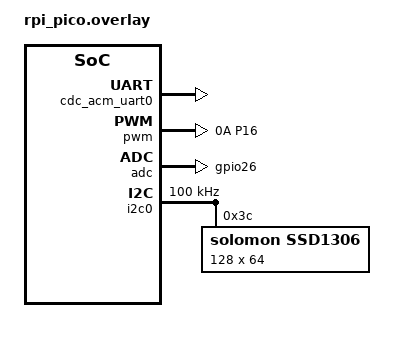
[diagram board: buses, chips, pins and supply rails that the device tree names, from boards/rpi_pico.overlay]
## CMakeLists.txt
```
# SPDX-License-Identifier: Apache-2.0

cmake_minimum_required(VERSION 3.20.0)
find_package(Zephyr REQUIRED HINTS $ENV{ZEPHYR_BASE})
project(blinky)

target_sources(app PRIVATE
    src/main.c
    src/modules/ringbuf/ringbuf.c
    src/modules/protocol/protocol.c
    src/modules/drivers/led_pwm.c
    src/modules/drivers/adc_ctrl.c
    src/modules/tx_buffer/tx_buffer.c
    src/modules/threads/tx_thread.c
    src/modules/threads/rx_thread.c
    src/modules/adc_stream/adc_stream.c
    src/modules/p_controller/p_controller.c
    src/modules/adc_reader/adc_reader.c
)
```

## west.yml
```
# Zephyr RTOS manifest with minimal module allowlist for RP2040 (Raspberry Pi Pico)
# This only downloads modules needed for the rpi_pico board, saving time and disk space.

manifest:
  defaults:
    remote: upstream

  remotes:
    - name: upstream
      url-base: https://github.com/zephyrproject-rtos

  projects:
    - name: zephyr
      revision: v3.7.0
      url: https://github.com/zephyrproject-rtos/zephyr
      west-commands: scripts/west-commands.yml
      import:
        # Only import the modules we actually need for RP2040
        name-allowlist:
          # ARM Cortex-M core support (REQUIRED)
          - cmsis
          # RP2040/Raspberry Pi Pico HAL (REQUIRED)
          - hal_rpi_pico
          # C library (usually required)
          - picolibc
          # Add more modules below if build fails:
          # - fatfs        # File system (if needed)
          # - littlefs     # Alternative file system (if needed)
          # - mbedtls      # Crypto/TLS (if using crypto)
          # - lvgl         # Graphics (if using GUI)
          # - cmsis-dsp    # DSP algorithms (if using DSP)

  self:
    path: .
```

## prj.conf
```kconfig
# --- USB CDC ACM ---
CONFIG_USB_DEVICE_STACK=y
CONFIG_USB_DEVICE_PRODUCT="RP2040 LED Ctrl"
CONFIG_USB_DEVICE_VID=0x2E8A
CONFIG_USB_DEVICE_PID=0x0001
CONFIG_USB_DEVICE_INITIALIZE_AT_BOOT=y
CONFIG_SERIAL=y
CONFIG_UART_LINE_CTRL=y
CONFIG_USB_CDC_ACM=y

# --- Console/Logging ---
# Disable console on UART to prevent log messages in binary protocol
CONFIG_UART_CONSOLE=n

# --- GPIO (for built-in LED) ---
CONFIG_GPIO=y

# --- PWM (for LED brightness control) ---
CONFIG_PWM=y

# --- ADC (for analog input reading) ---
CONFIG_ADC=y

# --- I2C (for SSD1306 display) ---
CONFIG_I2C=y

# --- Display Support ---
CONFIG_DISPLAY=y
CONFIG_SSD1306=y
CONFIG_CHARACTER_FRAMEBUFFER=y

# --- Heap for display framebuffer ---
CONFIG_HEAP_MEM_POOL_SIZE=16384
```

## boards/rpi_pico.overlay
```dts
#include <zephyr/dt-bindings/pinctrl/rpi-pico-rp2040-pinctrl.h>

/* Console via USB CDC ACM */
/ {
	chosen {
		zephyr,console = &cdc_acm_uart0;
		zephyr,display = &ssd1306;
	};

	/* ADC node for analog input on GPIO26 (ADC0) */
	adc_io: adc_io {
		compatible = "gpio-keys";
		label = "ADC_IO";
	};
};

&zephyr_udc0 {
	cdc_acm_uart0: cdc_acm_uart0 {
		compatible = "zephyr,cdc-acm-uart";
		label = "CDC_ACM_0";
	};
};

/* Enable PWM with pinctrl for GPIO16 (external) and GPIO25 (built-in LED) */
&pwm {
	pinctrl-0 = <&pwm0a_default>, <&pwm_ch4b_default>;
	pinctrl-names = "default";
	status = "okay";
};

/* Enable ADC for reading analog values on GPIO26 (ADC0) */
&adc {
	status = "okay";
	#io-channel-cells = <1>;
	pinctrl-0 = <&adc_default>;
	pinctrl-names = "default";
};

/* Enable I2C0 for SSD1306 display */
&i2c0 {
	status = "okay";
	pinctrl-0 = <&i2c0_default>;
	pinctrl-names = "default";
	clock-frequency = <I2C_BITRATE_STANDARD>;

	ssd1306: ssd1306@3c {
		compatible = "solomon,ssd1306";
		reg = <0x3c>;
		width = <128>;
		height = <64>;
		segment-offset = <0>;
		page-offset = <0>;
		display-offset = <0>;
		multiplex-ratio = <63>;
		segment-remap;
		com-invdir;
		prechargep = <0x22>;
	};
};

/* Add pinctrl configuration */
&pinctrl {
	/* PWM0 Channel A on GPIO16 (external PWM output) */
	pwm0a_default: pwm0a_default {
		group1 {
			pinmux = <PWM_0A_P16>;
		};
	};

	/* ADC on GPIO26 (ADC channel 0) */
	adc_default: adc_default {
		pins = "gpio26";
		function = "adc0";
	};

	/* I2C0 on GPIO4/GPIO5 for SSD1306 display */
	i2c0_default: i2c0_default {
		group1 {
			pinmux = <I2C0_SDA_P4>, <I2C0_SCL_P5>;
		};
	};
};
```

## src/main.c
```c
/**
 * @file main.c
 * @brief RP2040 PWM LED Control with P-Controller via UART ACM Binary Protocol
 *
 * @details This firmware implements a PWM-based LED control system for RP2040
 *          with PI-controller for automatic current regulation.
 *
 * **Hardware Platform:**
 *   - MCU: RP2040 (Raspberry Pi Pico)
 *   - LED: GPIO25 (built-in LED, PWM capable)
 *   - ADC Input: GPIO26 (ADC channel 0) - for analog sensor reading
 *   - Communication: USB CDC ACM (virtual serial port)
 *
 * **Binary Protocol Specification:**
 *   - Frame Format: [CMD][VALUE][CRC8] (3 bytes) or [CMD][H][L][CRC8] (4 bytes)
 *   - CMD 0x01: SET LED (0=OFF, 1+=ON) - Legacy ON/OFF
 *   - CMD 0x02: SET PWM DUTY (0-100, 0%=OFF, 100%=full brightness)
 *   - CMD 0x03: READ ADC - Request ADC reading, response: [0x03][ADC_H][ADC_L][CRC8]
 *   - CMD 0x06: SET MODE (0=MANUAL, 1=AUTO)
 *   - CMD 0x07: SET P SETPOINT (H/L bytes, 0-4095)
 *   - CMD 0x08: SET P GAIN (H/L bytes, 0-1000, represents 0.0-10.0)
 *   - CMD 0x09: START P STREAM (rate H/L in Hz)
 *   - CMD 0x0A: STOP P STREAM
 *   - CMD 0x0C: SET FEED FORWARD (0-100)
 *   - Response: ACK 0xFF or NACK 0xFE + error code
 *   - CRC-8: Polynomial 0x07, Initial 0x00
 *
 * **P-Controller Operation:**
 *   - Mode 0 (MANUAL): PWM controlled by GUI via SET_PWM (0x02)
 *   - Mode 1 (AUTO): PI-controller calculates PWM automatically
 *   - Formula: PWM = feed_forward + (Kp * (setpoint - measured)) / 100
 *   - Control loop runs at 1kHz (1ms interval)
 *
 * @author Project Team
 * @version 0.4.0
 * @date 2026-02-01
 */

#include <zephyr/kernel.h>
#include <zephyr/device.h>
#include <zephyr/drivers/uart.h>
#include <zephyr/drivers/gpio.h>
#include <zephyr/drivers/pwm.h>
#include <zephyr/drivers/adc.h>
#include <zephyr/usb/usb_device.h>
#include <zephyr/sys/printk.h>
#include <zephyr/sys/atomic.h>
#include <zephyr/spinlock.h>
#include <zephyr/sys/__assert.h>
#include "modules/ringbuf/ringbuf.h"
#include "modules/protocol/protocol.h"
#include "modules/drivers/led_pwm.h"
#include "modules/drivers/adc_ctrl.h"
#include "modules/adc_reader/adc_reader.h"
#include "modules/tx_buffer/tx_buffer.h"
#include "modules/threads/tx_thread.h"
#include "modules/threads/rx_thread.h"
#include "modules/adc_stream/adc_stream.h"
#include "modules/p_controller/p_controller.h"
#include "modules/oled_display/oled_display.h"

/* =========================================================================
 * CONSTANTS AND DEFINITIONS
 * ========================================================================= */

/** @brief UART device node from device tree */
#define UART_NODE DT_NODELABEL(cdc_acm_uart0)

/** @brief LED device node from device tree */
#define LED_NODE DT_NODELABEL(led0)

/** @brief PWM device (all channels) */
#define PWM_DEV_NODE DT_NODELABEL(pwm)

/** @brief ADC device node from device tree */
#define ADC_NODE DT_NODELABEL(adc)

/* -------------------------------------------------------------------------
 * Buffer Sizes
 * ------------------------------------------------------------------------- */
/** @brief UART RX ring buffer size in bytes */
#define RX_BUF_SIZE  32

/** @brief UART TX ring buffer size in bytes */
#define TX_BUF_SIZE  32

/* =========================================================================
 * GLOBAL VARIABLES
 * ========================================================================= */

/** @brief Cached UART device pointer */
static const struct device *uart_dev;

/** @brief Cached PWM device pointer */
static const struct device *pwm_dev;

/** @brief LED GPIO DT spec (for led_pwm module) */
static const struct gpio_dt_spec led_dt_spec = GPIO_DT_SPEC_GET(LED_NODE, gpios);

/** @brief LED/PWM driver context */
static struct led_pwm_ctx g_led_pwm;

/** @brief ADC driver context */
static struct adc_ctrl_ctx g_adc;

/** @brief ADC reader context (shared ADC source) */
static struct adc_reader_ctx g_adc_reader;

/** @brief PI-controller context */
static struct p_ctrl_ctx g_p_ctrl;

/** @brief OLED display context */
static struct oled_display_ctx g_oled_display;

/* =========================================================================
 * FUNCTION PROTOTYPES
 * ========================================================================= */

/** @brief UART RX ring buffer data */
static uint8_t rx_buf_data[RX_BUF_SIZE];

/** @brief RX ring buffer instance */
static struct ringbuf g_rx_buf;

/** @brief UART TX ring buffer data */
static uint8_t tx_buf_data[TX_BUF_SIZE];

/** @brief TX ring buffer instance */
static struct tx_buffer g_tx_buf;

/** @brief TX thread context */
static struct tx_thread_ctx g_tx_thread;

/** @brief RX thread context */
static struct rx_thread_ctx g_rx_thread;

/** @brief ADC stream context */
static struct adc_stream_ctx g_adc_stream;

/** @brief Protocol context with state machine and callbacks */
static struct proto_ctx g_proto;

/* =========================================================================
 * FUNCTION PROTOTYPES
 * ========================================================================= */

/**
 * @brief Send response byte via UART (callback for protocol module)
 *
 * @param resp Response byte (PROTO_RESP_ACK or PROTO_RESP_NACK)
 */
static void send_response_cb(uint8_t resp)
{
	tx_buffer_put(&g_tx_buf, &resp, 1);
}

/**
 * @brief Send ADC response frame (callback for protocol module)
 *
 * @details Sends 4-byte response: [CMD][ADC_H][ADC_L][CRC8]
 *
 * @param cmd Command byte (PROTO_CMD_READ_ADC)
 * @param adc_h ADC high byte
 * @param adc_l ADC low byte
 * @param crc CRC byte
 */
static void send_adc_response_cb(uint8_t cmd, uint8_t adc_h, uint8_t adc_l, uint8_t crc)
{
	uint8_t response[4];

	response[0] = cmd;
	response[1] = adc_h;
	response[2] = adc_l;
	response[3] = crc;

	tx_buffer_put(&g_tx_buf, response, sizeof(response));
}

/**
 * @brief LED set callback for protocol module
 *
 * @param state LED state (0=OFF, 1+=ON)
 */
static void led_set_cb(uint8_t state)
{
	led_pwm_set_led(&g_led_pwm, state);
}

/**
 * @brief PWM duty set callback for protocol module
 *
 * @param duty Duty cycle (0-100)
 * @return 0 on success, -1 on invalid value
 */
static int pwm_set_cb(uint8_t duty)
{
	return led_pwm_set_duty(&g_led_pwm, duty);
}

/**
 * @brief ADC read callback for protocol module
 *
 * @return ADC value (0-4095), or negative on error
 */
static int adc_read_cb(void)
{
	/* Return the latest value from shared ADC reader */
	return (int)adc_reader_get_last(&g_adc_reader);
}

/**
 * @brief Start ADC streaming callback for protocol module
 *
 * @param interval_ms Sampling interval in milliseconds
 * @return 0 on success, negative on failure
 */
static int stream_start_cb(uint32_t interval_ms)
{
	return adc_stream_start(&g_adc_stream, interval_ms);
}

/**
 * @brief Stop ADC streaming callback for protocol module
 *
 * @return 0 on success, negative on failure
 */
static int stream_stop_cb(void)
{
	return adc_stream_stop(&g_adc_stream);
}

/* =========================================================================
 * P-CONTROLLER WRAPPER FUNCTIONS
 * ========================================================================= */

/**
 * @brief Wrapper for PWM set (matches PI-controller callback signature)
 *
 * @param duty PWM duty cycle (0-100)
 */
static void led_pwm_set_duty_wrapper(uint8_t duty)
{
	led_pwm_set_duty(&g_led_pwm, duty);
}

/**
 * @brief Wrapper for sending P-stream data via protocol
 *
 * @param setpoint Target ADC value
 * @param measured Measured ADC value
 * @param pwm PWM output
 */
static void proto_send_p_stream_data(uint16_t setpoint, uint16_t measured, uint8_t pwm)
{
	uint8_t frame[7];
	proto_build_p_stream_frame(frame, setpoint, measured, pwm);
	tx_buffer_put(&g_tx_buf, frame, sizeof(frame));
}

/**
 * @brief Set PI-controller mode callback
 *
 * @param mode 0=MANUAL, 1=AUTO
 */
static void p_ctrl_set_mode_cb(uint8_t mode)
{
	p_ctrl_set_mode(&g_p_ctrl, mode);
}

/**
 * @brief Set PI-controller setpoint callback
 *
 * @param setpoint Target ADC value (0-4095)
 */
static void p_ctrl_set_setpoint_cb(uint16_t setpoint)
{
	p_ctrl_set_setpoint(&g_p_ctrl, setpoint);
}

/**
 * @brief Set PI-controller gain callback
 *
 * @param gain Proportional gain value (0-1000, represents 0.0-10.0)
 */
static void p_ctrl_set_gain_cb(uint16_t gain)
{
	p_ctrl_set_gain(&g_p_ctrl, gain);
}

/**
 * @brief Set PI-controller Ki (integral gain) callback
 *
 * @param ki Integral gain value (0-1000, represents 0.0-10.0)
 */
static void p_ctrl_set_ki_cb(uint16_t ki)
{
	p_ctrl_set_ki(&g_p_ctrl, ki);
}

/**
 * @brief Set PI-controller feed-forward callback
 *
 * @param ff Feed-forward PWM (0-100)
 */
static void p_ctrl_set_feed_forward_cb(uint8_t ff)
{
	p_ctrl_set_feed_forward(&g_p_ctrl, ff);
}

/**
 * @brief Start PI-controller streaming callback
 *
 * @param rate_hz Streaming rate in Hz (max 1000)
 * @return 0 on success, negative on failure
 */
static int p_ctrl_start_stream_cb(uint32_t rate_hz)
{
	return p_ctrl_start_stream(&g_p_ctrl, rate_hz);
}

/**
 * @brief Stop PI-controller streaming callback
 *
 * @return 0 on success, negative on failure
 */
static int p_ctrl_stop_stream_cb(void)
{
	return p_ctrl_stop_stream(&g_p_ctrl);
}

/**
 * @brief Get PI-controller status callback
 *
 * @return 0 on success (sends response via proto_send_p_stream_data)
 */
static int p_ctrl_get_status_cb(void)
{
	uint8_t frame[7];
	uint16_t setpoint = (uint16_t)atomic_get(&g_p_ctrl.setpoint);
	uint16_t measured = g_p_ctrl.last_measured;
	uint8_t pwm = g_p_ctrl.last_pwm;
	proto_build_p_stream_frame(frame, setpoint, measured, pwm);
	tx_buffer_put(&g_tx_buf, frame, sizeof(frame));
	return 0;
}

/**
 * @brief Set IIR filter alpha callback
 *
 * @param num Alpha numerator (1-255)
 * @param den Alpha denominator (1-255)
 */
static void filter_alpha_set_cb(uint8_t num, uint8_t den)
{
	adc_reader_set_alpha(&g_adc_reader, num, den);
}

/**
 * @brief Set ADC filter mode callback for protocol module
 *
 * @details Called when SET_FILTER_MODE command is received.
 *          Mode: 0=IIR only, 1=Oversample only, 2=Oversample+IIR
 *
 * @param mode Filter mode (0-2)
 */
static void filter_mode_set_cb(uint8_t mode)
{
	int ret = adc_reader_set_filter_mode(&g_adc_reader, mode);
	if (ret != 0) {
		printk("Failed to set filter mode: %d\n", ret);
	}
}

/* =========================================================================
 * UART INTERRUPT HANDLERS
 * ========================================================================= */

/**
 * @brief UART RX interrupt handler (ISR context)
 *
 * @details Called by UART interrupt to read bytes into ring buffer.
 *          Must be ISR-safe (no blocking operations).
 *
 * @param dev UART device structure
 * @param user_data User data (unused)
 */
static void uart_rx_handler(const struct device *dev, void *user_data)
{
	uint8_t buf[16];
	uint32_t len;

	while (uart_irq_update(dev) && uart_irq_rx_ready(dev)) {
		len = uart_fifo_read(dev, buf, sizeof(buf));

		for (uint32_t i = 0; i < len; i++) {
			ringbuf_put(&g_rx_buf, buf[i]);
		}
	}
}

/* =========================================================================
 * MAIN
 * ========================================================================= */

/**
 * @brief Main application entry point
 *
 * @details Initializes UART, PWM, GPIO, and interrupt handlers.
 *          Waits for USB DTR signal before entering main loop.
 *          Main loop processes incoming protocol frames at 10ms intervals.
 *
 * @return 0 on success (never reached in normal operation)
 */
int main(void)
{
	uint32_t dtr = 0;

	/* Get device pointers */
	uart_dev = DEVICE_DT_GET(UART_NODE);
	pwm_dev = DEVICE_DT_GET(PWM_DEV_NODE);
	const struct device *adc_dev = DEVICE_DT_GET(ADC_NODE);

	/* Verify UART is ready */
	if (!device_is_ready(uart_dev)) {
		printk("ERROR: UART device not ready\n");
		return 0;
	}

	/* Verify PWM is ready */
	if (!device_is_ready(pwm_dev)) {
		printk("ERROR: PWM device not ready\n");
		return 0;
	}

	/* Verify ADC is ready */
	if (!device_is_ready(adc_dev)) {
		printk("ERROR: ADC device not ready\n");
		return 0;
	}

	/* Initialize LED/PWM driver */
	if (led_pwm_init(&g_led_pwm, pwm_dev, &led_dt_spec) != 0) {
		printk("ERROR: Failed to initialize LED/PWM driver\n");
		return 0;
	}
	printk("LED/PWM initialized: LED OFF (PWM 0%%)\n");

	/* Initialize ADC driver */
	if (adc_ctrl_init(&g_adc, adc_dev) != 0) {
		printk("ERROR: Failed to initialize ADC driver\n");
		return 0;
	}
	printk("ADC initialized on GPIO26 (ADC0)\n");

	/* Initialize ADC reader (shared ADC source at 20kHz = 50us interval) */
	if (adc_reader_init(&g_adc_reader, adc_dev, ADC_READER_DEFAULT_INTERVAL_US) != 0) {
		printk("ERROR: Failed to initialize ADC reader\n");
		return 0;
	}

	/* Start ADC reader */
	if (adc_reader_start(&g_adc_reader) != 0) {
		printk("ERROR: Failed to start ADC reader\n");
		return 0;
	}

	/* Verify ADC reader is actually running */
	if (!adc_reader_is_active(&g_adc_reader)) {
		printk("ERROR: ADC reader failed to start (timer not running)\n");
		return 0;
	}
	printk("ADC reader started (20kHz sampling with moving average filter)\n");

	/* Initialize ADC stream module */
	if (adc_stream_init(&g_adc_stream, &g_tx_buf, &g_led_pwm) != 0) {
		printk("ERROR: Failed to initialize ADC stream module\n");
		return 0;
	}

	/* Set ADC reader for streaming module */
	adc_stream_set_adc_reader(&g_adc_stream, &g_adc_reader);

	/* Initialize PI-controller */
	if (p_ctrl_init(&g_p_ctrl) != 0) {
		printk("ERROR: Failed to initialize PI-controller\n");
		return 0;
	}
	printk("PI-controller initialized (MANUAL mode)\n");

	/* Register PI-controller callbacks (PWM and stream data only) */
	p_ctrl_set_callbacks(&g_p_ctrl,
			     led_pwm_set_duty_wrapper,
			     proto_send_p_stream_data);

	/* Set ADC reader for PI-controller */
	p_ctrl_set_adc_reader(&g_p_ctrl, &g_adc_reader);

	/* Initialize OLED display (non-fatal) */
	if (oled_display_init(&g_oled_display) == 0) {
		printk("OLED display initialized\n");
		/* Set module references */
		oled_display_set_p_controller(&g_oled_display, &g_p_ctrl);
		oled_display_set_adc_reader(&g_oled_display, &g_adc_reader);

		/* Start display updates */
		if (oled_display_start(&g_oled_display) == 0) {
			printk("OLED display updates started (4 Hz)\n");
		} else {
			printk("WARNING: Failed to start OLED display updates\n");
		}
	} else {
		printk("WARNING: Failed to initialize OLED display - continuing without display\n");
	}

	/* Initialize RX ring buffer */
	if (ringbuf_init(&g_rx_buf, rx_buf_data, RX_BUF_SIZE) != 0) {
		printk("ERROR: Failed to initialize RX ring buffer\n");
		return 0;
	}

	/* Initialize TX ring buffer */
	if (tx_buffer_init(&g_tx_buf, tx_buf_data, TX_BUF_SIZE) != 0) {
		printk("ERROR: Failed to initialize TX ring buffer\n");
		return 0;
	}

	/* Start TX thread */
	if (tx_thread_start(&g_tx_thread, &g_tx_buf, uart_dev) != 0) {
		printk("ERROR: Failed to start TX thread\n");
		return 0;
	}

	/* Start RX thread */
	if (rx_thread_start(&g_rx_thread, &g_rx_buf, &g_proto) != 0) {
		printk("ERROR: Failed to start RX thread\n");
		return 0;
	}

	/* Initialize protocol context */
	proto_init(&g_proto);

	/* Register protocol callbacks */
	g_proto.on_led_set = led_set_cb;
	g_proto.on_pwm_set = pwm_set_cb;
	g_proto.on_adc_read = adc_read_cb;
	g_proto.on_stream_start = stream_start_cb;
	g_proto.on_stream_stop = stream_stop_cb;
	/* PI-controller callbacks */
	g_proto.on_set_mode = p_ctrl_set_mode_cb;
	g_proto.on_set_p_setpoint = p_ctrl_set_setpoint_cb;
	g_proto.on_set_p_gain = p_ctrl_set_gain_cb;
	g_proto.on_set_p_ki = p_ctrl_set_ki_cb;
	g_proto.on_set_feed_forward = p_ctrl_set_feed_forward_cb;
	g_proto.on_start_p_stream = p_ctrl_start_stream_cb;
	g_proto.on_stop_p_stream = p_ctrl_stop_stream_cb;
	g_proto.on_get_p_status = p_ctrl_get_status_cb;
	g_proto.on_filter_alpha_set = filter_alpha_set_cb;
	g_proto.on_filter_mode_set = filter_mode_set_cb;
	/* Response callbacks */
	g_proto.send_resp = send_response_cb;
	g_proto.send_adc_resp = send_adc_response_cb;

	/* Wait for DTR */
	printk("Waiting for USB connection...\n");
	while (!dtr) {
		uart_line_ctrl_get(uart_dev, UART_LINE_CTRL_DTR, &dtr);
		k_sleep(K_MSEC(100));
	}

	printk("===================================\n");
	printk("RP2040 PWM LED + ADC + P-Controller\n");
	printk("LED: GPIO25 (built-in)\n");
	printk("PWM: 25kHz frequency\n");
	printk("ADC: GPIO26 (12-bit, 0-3.3V)\n");
	printk("P-Controller: 1kHz control loop\n");
	printk("Protocol: [CMD][VALUE][CRC8]\n");
	printk("  0x01 <val> <crc>  -> Set LED (0=OFF, 1+=ON)\n");
	printk("  0x02 <0-100> <crc> -> Set PWM duty (0=OFF, 100=full)\n");
	printk("  0x03 <crc>        -> Read ADC (returns [0x03][ADC_H][ADC_L][CRC])\n");
	printk("  0x06 <mode> <crc> -> Set mode (0=MANUAL, 1=AUTO)\n");
	printk("  0x07 <H><L><crc>  -> Set setpoint (0-4095)\n");
	printk("  0x08 <H><L><crc>  -> Set gain (0-1000, Kp=0.0-10.0)\n");
	printk("  0x0C <ff> <crc>   -> Set feed-forward (0-100)\n");
	printk("  0x09 <H><L><crc>  -> Start P-stream (rate Hz)\n");
	printk("  0x0A <num><den><crc> -> Set filter alpha (num/den)\n");
	printk("  Response: ACK=0xFF, NACK=0xFE\n");
	printk("===================================\n\n");

	/* Setup UART RX interrupt */
	uart_irq_callback_set(uart_dev, uart_rx_handler);
	uart_irq_rx_enable(uart_dev);

	/* Main loop - idle (all work done in threads) */
	while (true) {
		k_sleep(K_MSEC(1000));
	}

	return 0;
}
```
